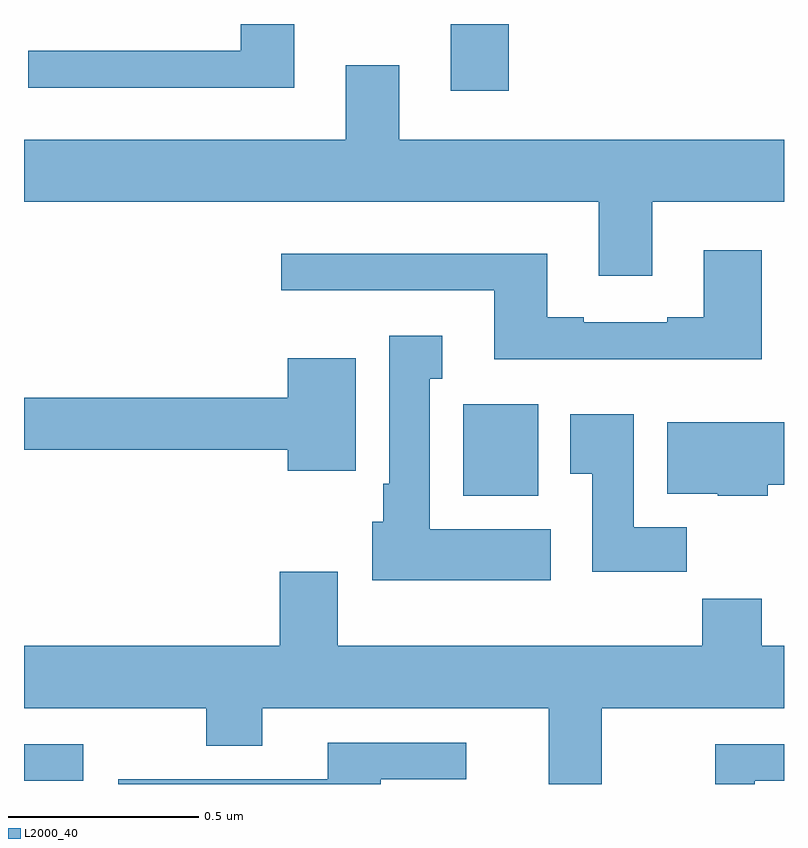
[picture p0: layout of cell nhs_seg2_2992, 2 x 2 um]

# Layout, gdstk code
import gdstk
lib = gdstk.Library(unit=1e-6, precision=1e-09)
def R(c, l, rs):  # rectangles x0, y0, x1, y1
    for r in rs: c.add(gdstk.rectangle(r[:2], r[2:], *l))
def P(c, l, *ps):  # polygons
    for p in ps: c.add(gdstk.Polygon(p, *l))
L2000_40 = (2000, 40)

nhs_seg2_2992 = lib.new_cell('nhs_seg2_2992')
R(nhs_seg2_2992, L2000_40, [(148,616.809,148.156,616.905), (149.156,617.558,149.353,617.8), (149.123,618.624,149.276,618.8)])
P(nhs_seg2_2992, L2000_40, [(148.711,618.8),(148.571,618.8),(148.571,618.729),(148.011,618.729),(148.011,618.632),(148.711,618.632)],
  [(149.653,618.332),(150,618.332),(150,618.496),(148.987,618.496),(148.987,618.691),(148.847,618.691),(148.847,618.496),(148,618.496),(148,618.332),(149.513,618.332),(149.513,618.138),(149.653,618.138)],
  [(149.942,618.205),(149.789,618.205),(149.789,618.028),(149.693,618.028),(149.693,618.015),(149.473,618.015),(149.473,618.028),(149.377,618.028),(149.377,618.196),(148.677,618.196),(148.677,618.099),(149.237,618.099),(149.237,617.918),(149.942,617.918)],
  [(149.386,617.47),(149.068,617.47),(149.068,617.867),(149.101,617.867),(149.101,617.98),(148.961,617.98),(148.961,617.59),(148.946,617.59),(148.946,617.49),(148.916,617.49),(148.916,617.336),(149.386,617.336)],
  [(148.873,617.92),(148.694,617.92),(148.694,617.816),(148,617.816),(148,617.68),(148.694,617.68),(148.694,617.624),(148.873,617.624)],
  [(149.744,617.476),(149.605,617.476),(149.605,617.773),(149.438,617.773),(149.438,617.617),(149.495,617.617),(149.495,617.358),(149.744,617.358)],
  [(149.957,617.587),(150,617.587),(150,617.752),(149.693,617.752),(149.693,617.564),(149.826,617.564),(149.826,617.558),(149.957,617.558)],
  [(149.521,617),(150,617),(150,617.164),(149.942,617.164),(149.942,617.288),(149.785,617.288),(149.785,617.164),(148.825,617.164),(148.825,617.359),(148.673,617.359),(148.673,617.164),(148,617.164),(148,617),(148.48,617),(148.48,616.901),(148.627,616.901),(148.627,617),(149.381,617),(149.381,616.8),(149.521,616.8)],
  [(148.939,616.812),(149.164,616.812),(149.164,616.908),(148.799,616.908),(148.799,616.812),(148.248,616.812),(148.248,616.8),(148.939,616.8)],
  [(149.923,616.809),(150,616.809),(150,616.905),(149.819,616.905),(149.819,616.8),(149.923,616.8)])

lib.write_gds('nhs_seg2_2992.gds')
